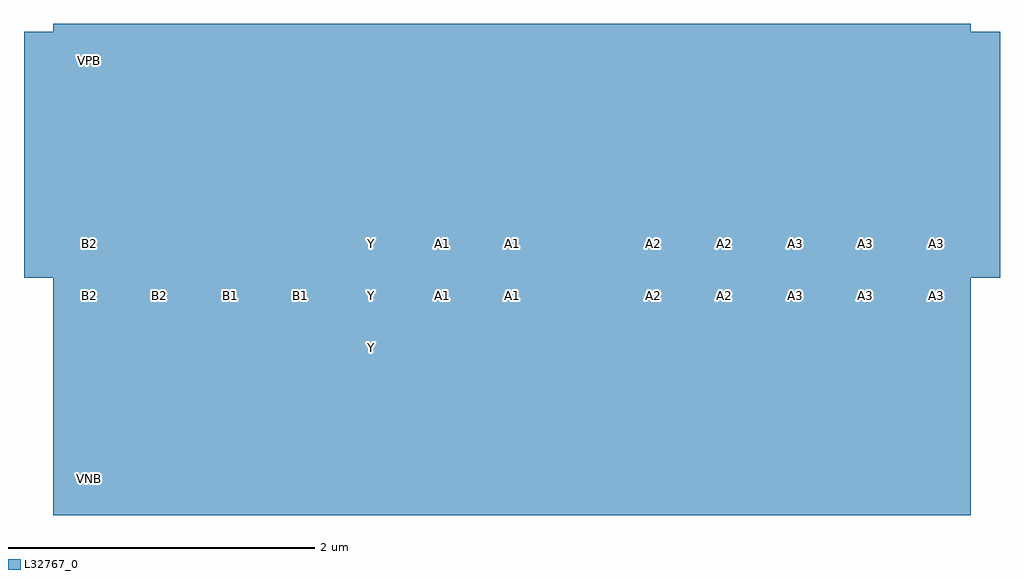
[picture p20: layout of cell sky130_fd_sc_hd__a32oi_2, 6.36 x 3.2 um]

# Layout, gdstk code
import gdstk
lib = gdstk.Library(unit=1e-6, precision=1e-09)
def R(c, l, rs):  # rectangles x0, y0, x1, y1
    for r in rs: c.add(gdstk.rectangle(r[:2], r[2:], *l))
def A(c, l, x, y, w, h, nx, ny, dx, dy):  # array of equal rectangles
    R(c, l, [(x+i*dx, y+j*dy, x+i*dx+w, y+j*dy+h) for i in range(nx) for j in range(ny)])
def P(c, l, *ps):  # polygons
    for p in ps: c.add(gdstk.Polygon(p, *l))
L32767_0 = (32767, 0)

sky130_fd_sc_hd__a32oi_2 = lib.new_cell('sky130_fd_sc_hd__a32oi_2')
A(sky130_fd_sc_hd__a32oi_2, L32767_0, 0.605, -0.085, 0.17, 0.17, 12, 2, 0.46, 2.72)
A(sky130_fd_sc_hd__a32oi_2, L32767_0, 0.175, 0.295, 0.17, 0.17, 3, 1, 0.42, 0)
A(sky130_fd_sc_hd__a32oi_2, L32767_0, 4.93, 1.075, 0.17, 0.17, 3, 1, 0.34, 0)
A(sky130_fd_sc_hd__a32oi_2, L32767_0, 0.15, 1.105, 0.17, 0.17, 7, 1, 0.46, 0)
A(sky130_fd_sc_hd__a32oi_2, L32767_0, 3.83, 1.105, 0.17, 0.17, 5, 2, 0.46, 0.34)
A(sky130_fd_sc_hd__a32oi_2, L32767_0, 1.99, 1.445, 0.17, 0.17, 3, 1, 0.46, 0)
A(sky130_fd_sc_hd__a32oi_2, L32767_0, 1.015, 1.875, 0.17, 0.17, 3, 1, 0.42, 0)
A(sky130_fd_sc_hd__a32oi_2, L32767_0, 0.175, 2.215, 0.17, 0.17, 3, 1, 0.84, 0)
R(sky130_fd_sc_hd__a32oi_2, L32767_0, [(0,-0.19,5.98,1.015), (0.145,-0.085,0.315,0.085), (0.15,-0.085,0.32,0.085), (0.15,-0.085,0.32,0.085), (0,0,5.98,2.72), (0,0,5.98,2.72), (0.135,0.235,2.065,0.885), (2.39,0.235,4.33,0.885), (4.6,0.235,5.845,0.885), (5.14,0.275,5.31,0.445), (1.855,0.295,2.025,0.465), (2.35,0.295,4.37,0.465), (2.43,0.295,2.6,0.465), (3.28,0.295,3.45,0.465), (4.12,0.295,4.29,0.465), (4.64,0.295,4.81,0.465), (5.635,0.295,5.805,0.465), (0.175,0.635,0.345,0.805), (1.015,0.635,1.185,0.805), (3.7,0.635,3.87,0.805), (5.14,0.635,5.31,0.805), (5.635,0.635,5.805,0.805), (1.435,0.655,1.605,0.825), (2.85,0.655,3.02,0.825), (1.99,0.765,2.16,0.935), (0,0.975,5.98,1.345), (0.235,1.075,0.405,1.245), (0.575,1.075,0.745,1.245), (1.255,1.075,1.425,1.245), (2.415,1.075,3.22,1.625), (2.63,1.075,2.8,1.245), (2.97,1.075,3.14,1.245), (3.725,1.075,4.48,1.625), (3.805,1.075,3.975,1.245), (4.145,1.075,4.315,1.245), (4.715,1.075,5.86,1.625), (0,1.25,5.98,2.72), (-0.19,1.305,6.17,2.91), (0,1.355,5.98,2.91), (0.15,1.445,0.32,1.615), (0.135,1.485,5.845,2.485), (0.595,1.615,0.765,1.785), (0.175,1.875,0.345,2.045), (3.18,1.875,3.35,2.045), (4.39,1.875,4.56,2.045), (5.635,1.875,5.805,2.045), (0.595,1.955,0.765,2.125), (3.18,2.215,3.35,2.385), (4.39,2.215,4.56,2.385), (5.635,2.215,5.805,2.385), (2.35,2.255,2.52,2.425), (2.69,2.255,2.86,2.425), (3.63,2.255,3.8,2.425), (3.97,2.255,4.14,2.425), (4.845,2.255,5.015,2.425), (5.185,2.255,5.355,2.425), (0.145,2.635,0.315,2.805), (0.15,2.635,0.32,2.805), (0.15,2.635,0.32,2.805)])
P(sky130_fd_sc_hd__a32oi_2, L32767_0, [(5.98,0.085),(5.885,0.085),(5.885,0.885),(5.56,0.885),(5.56,0.085),(4.89,0.085),(4.89,0.465),(4.555,0.465),(4.555,0.085),(0.765,0.085),(0.765,0.545),(0.595,0.545),(0.595,0.085),(0,0.085),(0,-0.085),(5.98,-0.085)],
  [(5.98,2.805),(0,2.805),(0,2.635),(2.27,2.635),(2.27,2.255),(2.94,2.255),(2.94,2.635),(3.55,2.635),(3.55,2.255),(4.22,2.255),(4.22,2.635),(4.765,2.635),(4.765,2.255),(5.435,2.255),(5.435,2.635),(5.98,2.635)],
  [(2.115,0.465),(1.185,0.465),(1.185,0.885),(0.175,0.885),(0.175,0.465),(0.095,0.465),(0.095,0.295),(0.425,0.295),(0.425,0.465),(0.345,0.465),(0.345,0.715),(1.015,0.715),(1.015,0.465),(0.935,0.465),(0.935,0.295),(2.115,0.295)],
  [(1.725,1.285),(1.045,1.285),(1.045,1.08),(1.175,1.08),(1.175,1.075),(1.505,1.075),(1.505,1.08),(1.725,1.08)],
  [(5.805,2.465),(5.635,2.465),(5.635,2.085),(4.56,2.085),(4.56,2.465),(4.39,2.465),(4.39,2.085),(3.35,2.085),(3.35,2.465),(3.18,2.465),(3.18,2.085),(2.025,2.085),(2.025,2.465),(0.175,2.465),(0.175,1.795),(0.345,1.795),(0.345,2.295),(1.015,2.295),(1.015,1.795),(1.185,1.795),(1.185,2.295),(1.855,2.295),(1.855,1.795),(2.025,1.795),(2.025,1.915),(3.18,1.915),(3.18,1.795),(3.35,1.795),(3.35,1.915),(4.39,1.915),(4.39,1.795),(4.56,1.795),(4.56,1.915),(5.635,1.915),(5.635,1.795),(5.805,1.795)],
  [(3.1,0.825),(2.18,0.825),(2.18,1.625),(1.605,1.625),(1.605,2.125),(1.435,2.125),(1.435,1.625),(0.765,1.625),(0.765,1.955),(0.845,1.955),(0.845,2.125),(0.515,2.125),(0.515,1.955),(0.595,1.955),(0.595,1.455),(1.965,1.455),(1.965,0.825),(1.355,0.825),(1.355,0.655),(3.1,0.655)],
  [(5.39,0.805),(3.62,0.805),(3.62,0.635),(5.06,0.635),(5.06,0.275),(5.39,0.275)],
  [(0.825,1.285),(0.325,1.285),(0.325,1.625),(0.145,1.625),(0.145,1.075),(0.825,1.075)],
  [(0.965,2.615),(0.815,2.615),(0.815,1.325),(0.545,1.325),(0.545,2.615),(0.395,2.615),(0.395,1.325),(0.155,1.325),(0.155,0.995),(0.395,0.995),(0.395,0.105),(0.545,0.105),(0.545,0.995),(0.815,0.995),(0.815,0.105),(0.965,0.105)],
  [(1.805,2.615),(1.655,2.615),(1.655,1.295),(1.385,1.295),(1.385,2.615),(1.235,2.615),(1.235,1.295),(1.175,1.295),(1.175,0.975),(1.235,0.975),(1.235,0.105),(1.385,0.105),(1.385,0.975),(1.655,0.975),(1.655,0.105),(1.805,0.105)],
  [(3.22,1.295),(3.13,1.295),(3.13,2.615),(2.98,2.615),(2.98,1.295),(2.225,1.295),(2.225,2.615),(2.075,2.615),(2.075,1.025),(2.65,1.025),(2.65,0.105),(2.8,0.105),(2.8,1.025),(3.07,1.025),(3.07,0.105),(3.22,0.105)],
  [(4.395,1.295),(4.34,1.295),(4.34,2.615),(4.19,2.615),(4.19,1.295),(3.58,1.295),(3.58,2.615),(3.43,2.615),(3.43,1.035),(3.5,1.035),(3.5,0.105),(3.65,0.105),(3.65,1.025),(3.92,1.025),(3.92,0.105),(4.07,0.105),(4.07,1.025),(4.395,1.025)],
  [(5.86,1.305),(5.585,1.305),(5.585,2.615),(5.435,2.615),(5.435,1.295),(4.765,1.295),(4.765,2.615),(4.615,2.615),(4.615,1.025),(4.915,1.025),(4.915,0.105),(5.065,0.105),(5.065,1.025),(5.435,1.025),(5.435,0.105),(5.585,0.105),(5.585,1.015),(5.86,1.015)])
sky130_fd_sc_hd__a32oi_2.add(gdstk.FlexPath([(0,2.72),(5.98,2.72)], 0.48, ends="flush", simple_path=True, layer=32767, datatype=0))  # L32767_0
sky130_fd_sc_hd__a32oi_2.add(gdstk.FlexPath([(0,0),(5.98,0)], 0.48, ends="flush", simple_path=True, layer=32767, datatype=0))  # L32767_0
sky130_fd_sc_hd__a32oi_2.add(gdstk.Label('B2', (0.695,1.19), layer=32767, texttype=5))
sky130_fd_sc_hd__a32oi_2.add(gdstk.Label('A3', (4.835,1.53), layer=32767, texttype=5))
sky130_fd_sc_hd__a32oi_2.add(gdstk.Label('A3', (5.295,1.19), layer=32767, texttype=5))
sky130_fd_sc_hd__a32oi_2.add(gdstk.Label('A3', (5.295,1.53), layer=32767, texttype=5))
sky130_fd_sc_hd__a32oi_2.add(gdstk.Label('A3', (5.755,1.19), layer=32767, texttype=5))
sky130_fd_sc_hd__a32oi_2.add(gdstk.Label('A3', (5.755,1.53), layer=32767, texttype=5))
sky130_fd_sc_hd__a32oi_2.add(gdstk.Label('A2', (4.375,1.53), layer=32767, texttype=5))
sky130_fd_sc_hd__a32oi_2.add(gdstk.Label('A2', (3.915,1.19), layer=32767, texttype=5))
sky130_fd_sc_hd__a32oi_2.add(gdstk.Label('A2', (3.915,1.53), layer=32767, texttype=5))
sky130_fd_sc_hd__a32oi_2.add(gdstk.Label('A3', (4.835,1.19), layer=32767, texttype=5))
sky130_fd_sc_hd__a32oi_2.add(gdstk.Label('A1', (2.535,1.19), layer=32767, texttype=5))
sky130_fd_sc_hd__a32oi_2.add(gdstk.Label('A1', (2.995,1.53), layer=32767, texttype=5))
sky130_fd_sc_hd__a32oi_2.add(gdstk.Label('A1', (2.535,1.53), layer=32767, texttype=5))
sky130_fd_sc_hd__a32oi_2.add(gdstk.Label('A2', (4.375,1.19), layer=32767, texttype=5))
sky130_fd_sc_hd__a32oi_2.add(gdstk.Label('Y', (2.075,1.53), layer=32767, texttype=5))
sky130_fd_sc_hd__a32oi_2.add(gdstk.Label('A1', (2.995,1.19), layer=32767, texttype=5))
sky130_fd_sc_hd__a32oi_2.add(gdstk.Label('B1', (1.155,1.19), layer=32767, texttype=5))
sky130_fd_sc_hd__a32oi_2.add(gdstk.Label('Y', (2.075,0.85), layer=32767, texttype=5))
sky130_fd_sc_hd__a32oi_2.add(gdstk.Label('B2', (0.235,1.53), layer=32767, texttype=5))
sky130_fd_sc_hd__a32oi_2.add(gdstk.Label('Y', (2.075,1.19), layer=32767, texttype=5))
sky130_fd_sc_hd__a32oi_2.add(gdstk.Label('B1', (1.615,1.19), layer=32767, texttype=5))
sky130_fd_sc_hd__a32oi_2.add(gdstk.Label('B2', (0.235,1.19), layer=32767, texttype=5))
sky130_fd_sc_hd__a32oi_2.add(gdstk.Label('VNB', (0.235,0), layer=32767, texttype=59))
sky130_fd_sc_hd__a32oi_2.add(gdstk.Label('VPB', (0.235,2.72), layer=32767, texttype=5))
sky130_fd_sc_hd__a32oi_2.add(gdstk.Label('VGND', (0.235,0), layer=32767, texttype=5))
sky130_fd_sc_hd__a32oi_2.add(gdstk.Label('VPWR', (0.235,2.72), layer=32767, texttype=5))
sky130_fd_sc_hd__a32oi_2.add(gdstk.Label('a32oi_2', (0,0), layer=32767, texttype=44))

lib.write_gds('sky130_fd_sc_hd__a32oi_2.gds')
